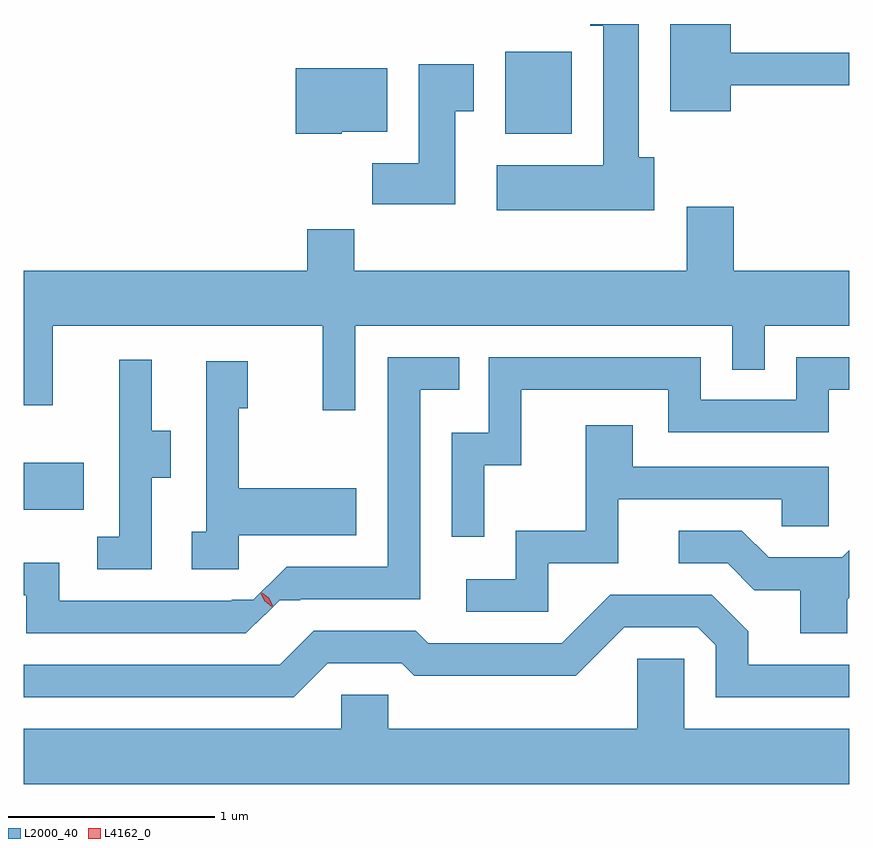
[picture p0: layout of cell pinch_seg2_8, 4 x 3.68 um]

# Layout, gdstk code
import gdstk
lib = gdstk.Library(unit=1e-6, precision=1e-09)
def R(c, l, rs):  # rectangles x0, y0, x1, y1
    for r in rs: c.add(gdstk.rectangle(r[:2], r[2:], *l))
def P(c, l, *ps):  # polygons
    for p in ps: c.add(gdstk.Polygon(p, *l))
L2000_40 = (2000, 40)
L4162_0 = (4162, 0)

pinch_seg2_8 = lib.new_cell('pinch_seg2_8')
R(pinch_seg2_8, L2000_40, [(1876.728,1080.726,1877.019,1080.954), (1879.061,1082.546,1879.384,1082.944)])
P(pinch_seg2_8, L2000_40, [(1879.784,1082.434),(1879.709,1082.434),(1879.709,1083.079),(1879.473,1083.079),(1879.473,1083.071),(1879.536,1083.071),(1879.536,1082.394),(1879.021,1082.394),(1879.021,1082.176),(1879.784,1082.176)],
  [(1880.154,1082.781),(1880.728,1082.781),(1880.728,1082.939),(1880.154,1082.939),(1880.154,1083.079),(1879.861,1083.079),(1879.861,1082.656),(1880.154,1082.656)],
  [(1878.819,1082.656),(1878.909,1082.656),(1878.909,1082.884),(1878.641,1082.884),(1878.641,1082.404),(1878.416,1082.404),(1878.416,1082.206),(1878.819,1082.206)],
  [(1878.27,1082.556),(1878.489,1082.556),(1878.489,1082.864),(1878.046,1082.864),(1878.046,1082.546),(1878.27,1082.546)],
  [(1878.334,1081.616),(1880.161,1081.616),(1880.161,1081.403),(1880.319,1081.403),(1880.319,1081.616),(1880.728,1081.616),(1880.728,1081.884),(1880.169,1081.884),(1880.169,1082.194),(1879.941,1082.194),(1879.941,1081.884),(1878.329,1081.884),(1878.329,1082.084),(1878.101,1082.084),(1878.101,1081.884),(1876.728,1081.884),(1876.728,1081.231),(1876.869,1081.231),(1876.869,1081.616),(1878.176,1081.616),(1878.176,1081.208),(1878.334,1081.208)],
  [(1878.959,1080.941),(1879.139,1080.941),(1879.139,1081.306),(1879.851,1081.306),(1879.851,1081.101),(1880.629,1081.101),(1880.629,1081.306),(1880.728,1081.306),(1880.728,1081.464),(1880.471,1081.464),(1880.471,1081.259),(1880.009,1081.259),(1880.009,1081.464),(1878.981,1081.464),(1878.981,1081.099),(1878.801,1081.099),(1878.801,1080.593),(1878.959,1080.593)],
  [(1877.897,1080.219),(1877.898,1080.217),(1877.968,1080.287),(1878.068,1080.287),(1878.068,1080.291),(1878.649,1080.291),(1878.649,1081.306),(1878.838,1081.306),(1878.838,1081.464),(1878.491,1081.464),(1878.491,1080.449),(1878.003,1080.449),(1877.908,1080.355),(1877.907,1080.357),(1877.839,1080.289),(1877.735,1080.289),(1877.735,1080.284),(1876.899,1080.284),(1876.899,1080.469),(1876.728,1080.469),(1876.728,1080.311),(1876.741,1080.311),(1876.741,1080.126),(1877.804,1080.126)],
  [(1877.349,1080.881),(1877.439,1080.881),(1877.439,1081.109),(1877.349,1081.109),(1877.349,1081.453),(1877.191,1081.453),(1877.191,1080.594),(1877.083,1080.594),(1877.083,1080.436),(1877.349,1080.436)],
  [(1877.769,1080.601),(1878.339,1080.601),(1878.339,1080.829),(1877.769,1080.829),(1877.769,1081.216),(1877.814,1081.216),(1877.814,1081.444),(1877.611,1081.444),(1877.611,1080.619),(1877.541,1080.619),(1877.541,1080.436),(1877.769,1080.436)],
  [(1879.269,1080.466),(1879.609,1080.466),(1879.609,1080.776),(1880.401,1080.776),(1880.401,1080.646),(1880.629,1080.646),(1880.629,1080.934),(1879.679,1080.934),(1879.679,1081.134),(1879.451,1081.134),(1879.451,1080.624),(1879.111,1080.624),(1879.111,1080.389),(1878.873,1080.389),(1878.873,1080.231),(1879.269,1080.231)],
  [(1880.719,1080.289),(1880.728,1080.298),(1880.728,1080.528),(1880.694,1080.494),(1880.337,1080.494),(1880.207,1080.624),(1879.903,1080.624),(1879.903,1080.466),(1880.139,1080.466),(1880.269,1080.336),(1880.491,1080.336),(1880.491,1080.126),(1880.719,1080.126)],
  [(1878.202,1079.981),(1878.559,1079.981),(1878.619,1079.921),(1879.402,1079.921),(1879.637,1080.156),(1879.994,1080.156),(1880.081,1080.069),(1880.081,1079.816),(1880.728,1079.816),(1880.728,1079.974),(1880.239,1079.974),(1880.239,1080.137),(1880.062,1080.314),(1879.569,1080.314),(1879.334,1080.079),(1878.687,1080.079),(1878.627,1080.139),(1878.134,1080.139),(1877.969,1079.974),(1876.728,1079.974),(1876.728,1079.816),(1878.037,1079.816)],
  [(1880.728,1079.664),(1879.929,1079.664),(1879.929,1080.004),(1879.701,1080.004),(1879.701,1079.664),(1878.494,1079.664),(1878.494,1079.829),(1878.266,1079.829),(1878.266,1079.664),(1876.728,1079.664),(1876.728,1079.396),(1880.728,1079.396)])
P(pinch_seg2_8, L4162_0, [(1877.932,1080.253),(1877.896,1080.282),(1877.874,1080.322),(1877.874,1080.322),(1877.875,1080.322),(1877.911,1080.294),(1877.933,1080.254),(1877.933,1080.253)],
  [(1877.933,1080.261),(1877.9,1080.285),(1877.882,1080.322),(1877.882,1080.322),(1877.883,1080.322),(1877.916,1080.298),(1877.934,1080.262),(1877.934,1080.261)])

lib.write_gds('pinch_seg2_8.gds')
